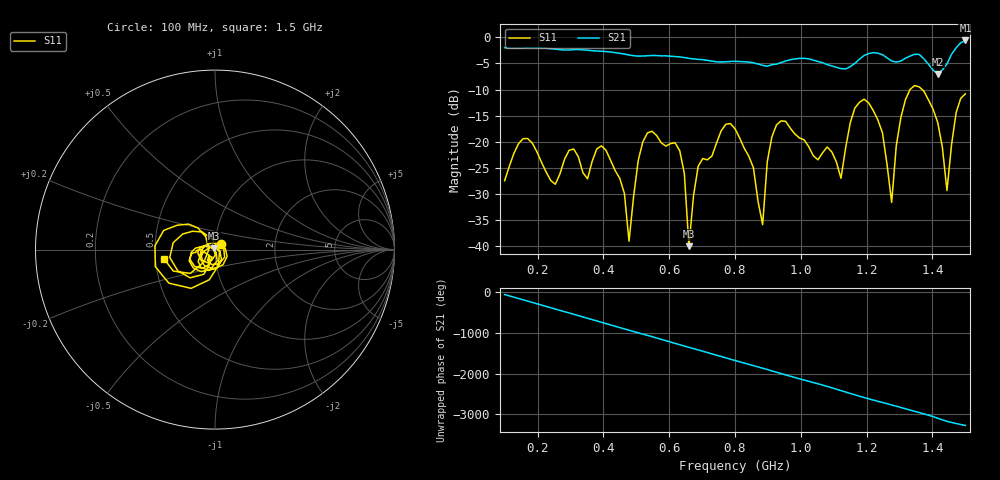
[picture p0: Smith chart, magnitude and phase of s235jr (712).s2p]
! NanoVNA-App
! Date: 2025-09-25 15:09:43
! Start: 100MHz Stop: 1,5GHz Points: 101
! S-Parameter data: F S11 S21 S12 S22
# Hz S RI R 50
!  Frequency  S11_Real  S11_Imag  S21_Real  S21_Imag  S12_Real  S12_Imag  S22_Real  S22_Imag
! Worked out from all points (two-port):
!   101 points, 100 MHz to 1.5 GHz, reference 50 ohm
!   highest |S21| = -0.58 dB at 1.5 GHz (marker M1); lowest = -7.0 dB at 1.416 GHz (marker M2)
!   |S21| within 3 dB of the highest: start of sweep to 505.5 MHz; 508.1 MHz to 598.5 MHz (90.42 MHz wide, 16.3 % of centre) (the widest 2 of 5)
!   lowest |S11| = -40.0 dB at 660 MHz (marker M3), VSWR 1.02, Z = 49.2 + j0.644 ohm
!   |S11| at or under -10 dB: start of sweep to 1.332 GHz; 1.369 GHz to end of sweep
!   S12 and S22 are empty: the file has one direction only
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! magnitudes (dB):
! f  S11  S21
! 100 MHz  -27.5  -2.0
! 156 MHz  -19.4  -2.0
! 338 MHz  -25.9  -2.4
! 408 MHz  -21.6  -2.7
! 478 MHz  -39.1  -3.4
! 520 MHz  -20.0  -3.6
! 576 MHz  -20.2  -3.5
! 632 MHz  -21.7  -3.7
! 660 MHz  -40.0  -4.0
! 688 MHz  -24.7  -4.2
! 800 MHz  -17.5  -4.6
! 884 MHz  -35.9  -5.4
! 926 MHz  -16.8  -5.1
! 1.038 GHz  -22.7  -4.4
! 1.122 GHz  -27.0  -6.0
! 1.192 GHz  -11.8  -3.5
! 1.248 GHz  -18.3  -3.3
! 1.276 GHz  -31.6  -4.5
! 1.332 GHz  -10.0  -3.6
! 1.416 GHz  -16.3  -7.0
! 1.444 GHz  -29.3  -5.1
! 1.5 GHz  -10.8  -0.6
